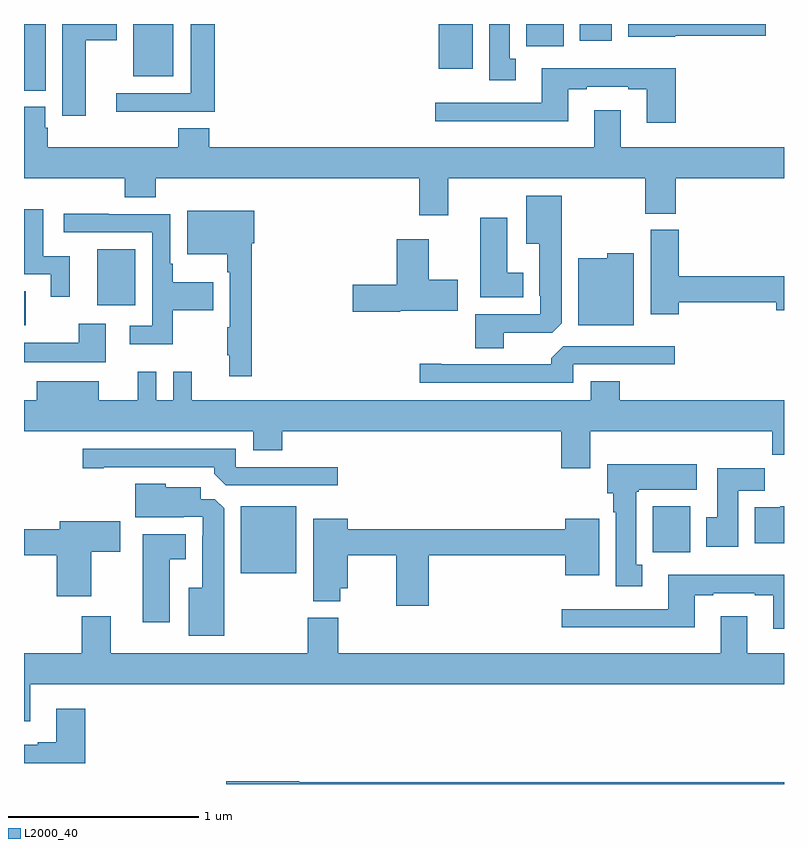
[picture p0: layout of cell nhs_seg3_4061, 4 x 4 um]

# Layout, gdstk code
import gdstk
lib = gdstk.Library(unit=1e-6, precision=1e-09)
def R(c, l, rs):  # rectangles x0, y0, x1, y1
    for r in rs: c.add(gdstk.rectangle(r[:2], r[2:], *l))
def P(c, l, *ps):  # polygons
    for p in ps: c.add(gdstk.Polygon(p, *l))
L2000_40 = (2000, 40)

nhs_seg3_4061 = lib.new_cell('nhs_seg3_4061')
R(nhs_seg3_4061, L2000_40, [(326.141,693.509,326.434,693.862), (328.31,693.62,328.507,693.862), (325,694.814,325.009,694.993), (325.385,694.919,325.585,695.215), (325,696.049,325.114,696.4), (325.574,696.125,325.786,696.4), (327.182,696.164,327.361,696.4), (327.644,696.284,327.841,696.4), (327.926,696.312,328.093,696.4)])
P(nhs_seg3_4061, L2000_40, [(325.324,696.314),(325.489,696.314),(325.489,696.4),(325.202,696.4),(325.202,695.916),(325.324,695.916)],
  [(328.428,696.338),(328.903,696.338),(328.903,696.4),(328.181,696.4),(328.181,696.332),(328.428,696.332)],
  [(326.003,696.4),(325.877,696.4),(325.877,696.036),(325.485,696.036),(325.485,695.939),(326.003,695.939)],
  [(327.589,696.218),(327.556,696.218),(327.556,696.4),(327.449,696.4),(327.449,696.105),(327.589,696.105)],
  [(328.43,696.166),(327.725,696.166),(327.725,695.985),(327.165,695.985),(327.165,695.888),(327.865,695.888),(327.865,696.057),(327.961,696.057),(327.961,696.069),(328.181,696.069),(328.181,696.057),(328.277,696.057),(328.277,695.88),(328.43,695.88)],
  [(327.232,695.588),(328.27,695.588),(328.27,695.401),(328.43,695.401),(328.43,695.588),(329,695.588),(329,695.752),(328.141,695.752),(328.141,695.947),(328.001,695.947),(328.001,695.752),(325.976,695.752),(325.976,695.851),(325.811,695.851),(325.811,695.752),(325.124,695.752),(325.124,695.853),(325.111,695.853),(325.111,695.964),(325,695.964),(325,695.588),(325.529,695.588),(325.529,695.489),(325.694,695.489),(325.694,695.588),(327.08,695.588),(327.08,695.394),(327.232,695.394)],
  [(327.526,694.776),(327.78,694.776),(327.829,694.825),(327.829,695.497),(327.644,695.497),(327.644,695.243),(327.713,695.243),(327.713,694.969),(327.717,694.969),(327.717,694.872),(327.374,694.872),(327.374,694.693),(327.526,694.693)],
  [(325.24,695.178),(325.102,695.178),(325.102,695.425),(325,695.425),(325,695.082),(325.142,695.082),(325.142,694.965),(325.24,694.965)],
  [(326.198,695.246),(326.212,695.246),(326.212,695.416),(325.859,695.416),(325.859,695.189),(326.07,695.189),(326.07,695.093),(326.082,695.093),(326.082,694.805),(326.07,694.805),(326.07,694.657),(326.081,694.657),(326.081,694.545),(326.198,694.545)],
  [(325.783,694.894),(325.997,694.894),(325.997,695.041),(325.783,695.041),(325.783,695.137),(325.77,695.137),(325.77,695.4),(325.445,695.4),(325.445,695.402),(325.209,695.402),(325.209,695.304),(325.674,695.304),(325.674,694.812),(325.557,694.812),(325.557,694.715),(325.783,694.715)],
  [(327.628,695.092),(327.544,695.092),(327.544,695.38),(327.401,695.38),(327.401,694.961),(327.628,694.961)],
  [(328.445,694.936),(328.958,694.936),(328.958,694.894),(329,694.894),(329,695.072),(328.445,695.072),(328.445,695.316),(328.298,695.316),(328.298,694.872),(328.445,694.872)],
  [(326.979,694.892),(327.283,694.892),(327.283,695.055),(327.13,695.055),(327.13,695.266),(326.963,695.266),(326.963,695.027),(326.73,695.027),(326.73,694.885),(326.979,694.885)],
  [(328.21,695.194),(328.071,695.194),(328.071,695.167),(327.917,695.167),(327.917,694.814),(328.21,694.814)],
  [(325.429,694.822),(325.289,694.822),(325.289,694.723),(325,694.723),(325,694.619),(325.429,694.619)],
  [(327.891,694.608),(328.426,694.608),(328.426,694.704),(327.837,694.704),(327.776,694.642),(327.776,694.608),(327.196,694.608),(327.196,694.613),(327.084,694.613),(327.084,694.512),(327.891,694.512)],
  [(327.979,694.256),(328.939,694.256),(328.939,694.132),(329,694.132),(329,694.42),(328.136,694.42),(328.136,694.519),(327.983,694.519),(327.983,694.42),(325.883,694.42),(325.883,694.57),(325.785,694.57),(325.785,694.42),(325.695,694.42),(325.695,694.57),(325.598,694.57),(325.598,694.42),(325.393,694.42),(325.393,694.519),(325.067,694.519),(325.067,694.42),(325,694.42),(325,694.256),(326.207,694.256),(326.207,694.157),(326.36,694.157),(326.36,694.256),(327.827,694.256),(327.827,694.062),(327.979,694.062)],
  [(326.65,694.068),(326.115,694.068),(326.115,694.164),(325.308,694.164),(325.308,694.063),(325.42,694.063),(325.42,694.068),(326,694.068),(326,694.034),(326.061,693.972),(326.65,693.972)],
  [(328.255,693.554),(328.222,693.554),(328.222,693.937),(328.236,693.937),(328.236,693.95),(328.54,693.95),(328.54,694.084),(328.07,694.084),(328.07,693.93),(328.1,693.93),(328.1,693.83),(328.115,693.83),(328.115,693.441),(328.255,693.441)],
  [(328.759,693.944),(328.898,693.944),(328.898,694.063),(328.649,694.063),(328.649,693.804),(328.592,693.804),(328.592,693.648),(328.759,693.648)],
  [(326.053,693.851),(326.004,693.9),(325.93,693.9),(325.93,693.961),(325.746,693.961),(325.746,693.979),(325.586,693.979),(325.586,693.803),(325.841,693.803),(325.841,693.807),(325.941,693.807),(325.941,693.707),(325.937,693.707),(325.937,693.433),(325.868,693.433),(325.868,693.179),(326.053,693.179)],
  [(329,693.862),(328.98,693.862),(328.98,693.856),(328.847,693.856),(328.847,693.668),(329,693.668)],
  [(327.131,693.604),(327.848,693.604),(327.848,693.5),(328.027,693.5),(328.027,693.796),(327.848,693.796),(327.848,693.74),(326.704,693.74),(326.704,693.796),(326.522,693.796),(326.522,693.361),(326.664,693.361),(326.664,693.431),(326.704,693.431),(326.704,693.604),(326.96,693.604),(326.96,693.339),(327.131,693.339)],
  [(325.354,693.622),(325.507,693.622),(325.507,693.784),(325.188,693.784),(325.188,693.74),(325,693.74),(325,693.604),(325.172,693.604),(325.172,693.389),(325.354,693.389)],
  [(325.768,693.584),(325.852,693.584),(325.852,693.715),(325.625,693.715),(325.625,693.252),(325.768,693.252)],
  [(329,693.502),(328.391,693.502),(328.391,693.321),(327.831,693.321),(327.831,693.224),(328.531,693.224),(328.531,693.393),(328.627,693.393),(328.627,693.405),(328.847,693.405),(328.847,693.393),(328.943,693.393),(328.943,693.216),(329,693.216)],
  [(325.033,692.924),(329,692.924),(329,693.088),(328.807,693.088),(328.807,693.283),(328.667,693.283),(328.667,693.088),(326.654,693.088),(326.654,693.276),(326.494,693.276),(326.494,693.088),(325.456,693.088),(325.456,693.283),(325.304,693.283),(325.304,693.088),(325,693.088),(325,692.73),(325.033,692.73)],
  [(325.322,692.797),(325.169,692.797),(325.169,692.62),(325.073,692.62),(325.073,692.607),(325,692.607),(325,692.51),(325.322,692.51)],
  [(329,692.408),(326.448,692.408),(326.448,692.414),(326.064,692.414),(326.064,692.4),(329,692.4)])

lib.write_gds('nhs_seg3_4061.gds')
